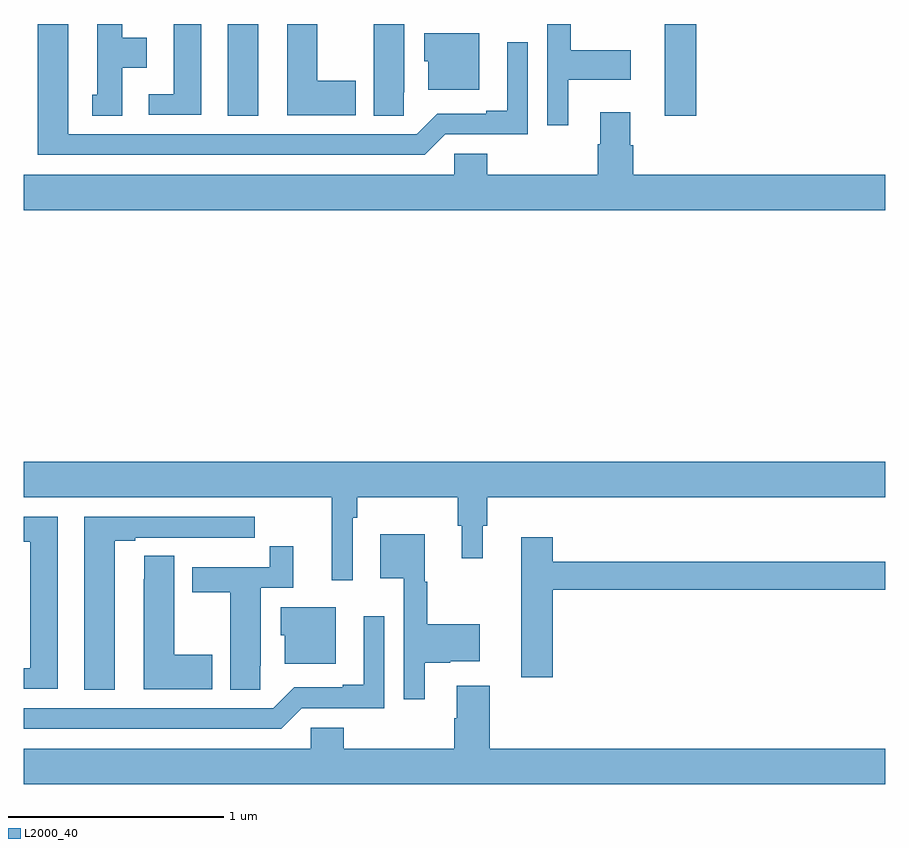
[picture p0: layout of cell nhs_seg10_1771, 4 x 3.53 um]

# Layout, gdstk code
import gdstk
lib = gdstk.Library(unit=1e-6, precision=1e-09)
def R(c, l, rs):  # rectangles x0, y0, x1, y1
    for r in rs: c.add(gdstk.rectangle(r[:2], r[2:], *l))
def P(c, l, *ps):  # polygons
    for p in ps: c.add(gdstk.Polygon(p, *l))
L2000_40 = (2000, 40)

nhs_seg10_1771 = lib.new_cell('nhs_seg10_1771')
R(nhs_seg10_1771, L2000_40, [(203.948,1314.073,204.088,1314.5), (205.976,1314.075,206.123,1314.5)])
P(nhs_seg10_1771, L2000_40, [(203.824,1314.5),(203.696,1314.5),(203.696,1314.174),(203.58,1314.174),(203.58,1314.078),(203.824,1314.078)],
  [(203.458,1314.296),(203.572,1314.296),(203.572,1314.436),(203.458,1314.436),(203.458,1314.5),(203.342,1314.5),(203.342,1314.171),(203.318,1314.171),(203.318,1314.073),(203.458,1314.073)],
  [(205.528,1314.242),(205.819,1314.242),(205.819,1314.377),(205.54,1314.377),(205.54,1314.5),(205.431,1314.5),(205.431,1314.03),(205.528,1314.03)],
  [(204.957,1313.988),(205.341,1313.988),(205.341,1314.415),(205.244,1314.415),(205.244,1314.097),(205.148,1314.097),(205.148,1314.084),(204.921,1314.084),(204.825,1313.988),(203.206,1313.988),(203.206,1314.5),(203.066,1314.5),(203.066,1313.892),(204.861,1313.892)],
  [(204.541,1314.237),(204.364,1314.237),(204.364,1314.5),(204.224,1314.5),(204.224,1314.077),(204.541,1314.077)],
  [(204.765,1314.184),(204.766,1314.184),(204.766,1314.5),(204.626,1314.5),(204.626,1314.073),(204.765,1314.073)],
  [(205.114,1314.457),(204.86,1314.457),(204.86,1314.327),(204.878,1314.327),(204.878,1314.194),(205.114,1314.194)],
  [(207,1313.8),(205.829,1313.8),(205.829,1313.937),(205.816,1313.937),(205.816,1314.091),(205.676,1314.091),(205.676,1313.942),(205.664,1313.942),(205.664,1313.8),(205.151,1313.8),(205.151,1313.898),(204.999,1313.898),(204.999,1313.8),(203,1313.8),(203,1313.636),(207,1313.636)],
  [(204.528,1312.208),(204.548,1312.208),(204.548,1312.304),(205.015,1312.304),(205.015,1312.17),(205.034,1312.17),(205.034,1312.02),(205.132,1312.02),(205.132,1312.17),(205.151,1312.17),(205.151,1312.304),(207,1312.304),(207,1312.468),(203,1312.468),(203,1312.304),(204.431,1312.304),(204.431,1311.918),(204.528,1311.918)],
  [(203.158,1312.212),(203,1312.212),(203,1312.096),(203.03,1312.096),(203.03,1311.51),(203,1311.51),(203,1311.414),(203.158,1311.414)],
  [(203.422,1312.101),(203.518,1312.101),(203.518,1312.116),(203.794,1312.116),(203.794,1312.115),(203.96,1312.115),(203.96,1312.116),(204.073,1312.116),(204.073,1312.212),(203.282,1312.212),(203.282,1311.409),(203.422,1311.409)],
  [(204.862,1311.535),(204.981,1311.535),(204.981,1311.542),(205.117,1311.542),(205.117,1311.713),(204.874,1311.713),(204.874,1311.912),(204.862,1311.912),(204.862,1312.132),(204.656,1312.132),(204.656,1311.926),(204.765,1311.926),(204.765,1311.366),(204.862,1311.366)],
  [(205.457,1311.874),(207,1311.874),(207,1312.003),(205.457,1312.003),(205.457,1312.117),(205.31,1312.117),(205.31,1311.468),(205.457,1311.468)],
  [(204.099,1311.52),(204.1,1311.52),(204.1,1311.882),(204.251,1311.882),(204.251,1312.075),(204.142,1312.075),(204.142,1311.978),(203.783,1311.978),(203.783,1311.862),(203.96,1311.862),(203.96,1311.409),(204.099,1311.409)],
  [(203.875,1311.573),(203.698,1311.573),(203.698,1312.031),(203.559,1312.031),(203.559,1311.923),(203.558,1311.923),(203.558,1311.413),(203.875,1311.413)],
  [(204.448,1311.793),(204.194,1311.793),(204.194,1311.663),(204.212,1311.663),(204.212,1311.53),(204.448,1311.53)],
  [(204.291,1311.324),(204.675,1311.324),(204.675,1311.751),(204.578,1311.751),(204.578,1311.433),(204.482,1311.433),(204.482,1311.42),(204.255,1311.42),(204.159,1311.324),(203,1311.324),(203,1311.228),(204.195,1311.228)],
  [(207,1311.136),(205.163,1311.136),(205.163,1311.427),(205.01,1311.427),(205.01,1311.278),(204.998,1311.278),(204.998,1311.136),(204.485,1311.136),(204.485,1311.234),(204.333,1311.234),(204.333,1311.136),(203,1311.136),(203,1310.972),(207,1310.972)])

lib.write_gds('nhs_seg10_1771.gds')
